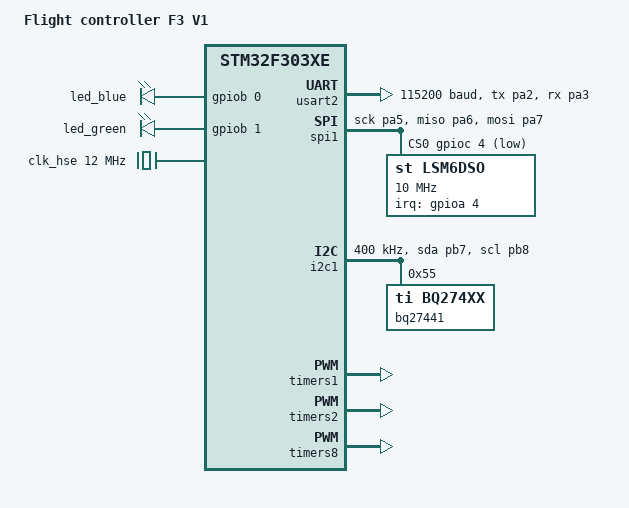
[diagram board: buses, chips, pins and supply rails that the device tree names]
/dts-v1/;
#include <st/f3/stm32f303Xe.dtsi>
#include <st/f3/stm32f303r(d-e)tx-pinctrl.dtsi>

/ {
    model = "Flight controller F3 V1";
    compatible = "controller";
    chosen {
        zephyr,console = &usart2;
        zephyr,shell-uart = &usart2;
        zephyr,sram = &sram0;
        zephyr,flash = &flash0;
    };

    leds {
        compatible = "gpio-leds";
        led_blue: led_1 {
            gpios = <&gpiob 0 GPIO_ACTIVE_HIGH>;
        };
        led_green: led_2 {
            gpios = <&gpiob 1 GPIO_ACTIVE_HIGH>;
        };
    };
};

&clk_lsi {
    status = "okay";
};

&clk_hse {
    status = "okay";
    clock-frequency = <DT_FREQ_M(12)>;
};

&pll {
    prediv = <1>;
    mul = <6>;
    clocks = <&clk_hse>;
    status = "okay";
};

&rcc {
    clocks = <&pll>;
    clock-frequency = <DT_FREQ_M(72)>;
    ahb-prescaler = <1>;
    apb1-prescaler = <2>;
    apb2-prescaler = <1>;
};

&usart2 {
    pinctrl-0 = <&usart2_tx_pa2 &usart2_rx_pa3>;
    pinctrl-names = "default";
    current-speed = <115200>;
    status = "okay";
};

&spi1 {
    status = "okay";
    pinctrl-0 = <&spi1_sck_pa5 &spi1_miso_pa6 &spi1_mosi_pa7>;
    pinctrl-names = "default";
    cs-gpios = <&gpioc 4 GPIO_ACTIVE_LOW>;

    lsm6dso: lsm6dso@0 {
        status = "okay";
        compatible = "st,lsm6dso";
        spi-max-frequency = <DT_FREQ_M(10)>;
        reg = <0>;
        irq-gpios = <&gpioa 4 GPIO_ACTIVE_HIGH>;
    };
};

&i2c1 {
    status = "okay";
    pinctrl-0 = <&i2c1_sda_pb7 &i2c1_scl_pb8>;
    pinctrl-names = "default";
    clock-frequency = <I2C_BITRATE_FAST>;
    
    bq27441: bq27441-g1a@55 {
        status = "okay";
        compatible = "ti,bq274xx";
        reg = <0x55>;
        design-voltage = <3700>;
        design-capacity = <520>;
        taper-current = <45>;
        terminate-voltage = <3000>;
    };
};

&timers1 {
    status = "okay";
    st,prescaler = <100>;

    pwm0: pwm-0 {
        compatible = "st,stm32-pwm";
		#pwm-cells = <3>;
        status = "okay";
        pinctrl-0 = <&tim1_ch1_pc0 &tim1_ch2_pc1 &tim1_ch3_pc2 &tim1_ch4_pc3>;
        pinctrl-names = "default";
    };
};

&timers2 {
    status = "okay";
    st,prescaler = <100>;
    
    pwm1: pwm-1 {
        compatible = "st,stm32-pwm";
		#pwm-cells = <3>;
        status = "okay";
        pinctrl-0 = < &tim2_ch1_pa0 &tim2_ch2_pa1>;
        pinctrl-names = "default";
    };
};

&timers8 {
    status = "okay";
    st,prescaler = <100>;

    pwm2: pwm-2 {
        compatible = "st,stm32-pwm";
		#pwm-cells = <3>;
        status = "okay";
        pinctrl-0 = <&tim8_ch1_pc6 &tim8_ch2_pc7 &tim8_ch3_pc8 &tim8_ch4_pc9>;
        pinctrl-names = "default";
    };
};

/* This one will not work together with timers1 due to shared IRQ */
&timers15 {
    status = "disabled";
};
